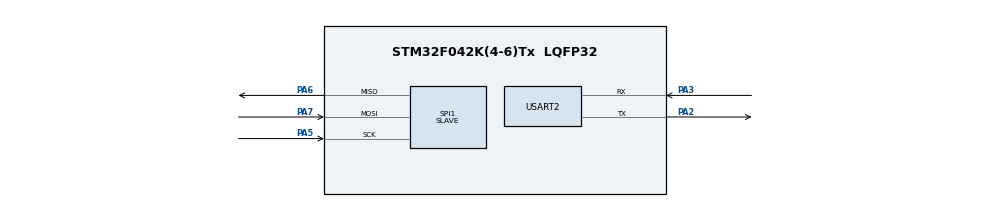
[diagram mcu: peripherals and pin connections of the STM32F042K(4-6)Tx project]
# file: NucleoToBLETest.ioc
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Mcu.Family=STM32F0
Mcu.Name=STM32F042K(4-6)Tx
Mcu.Package=LQFP32
PA2.Mode=Asynchronous
PA2.Signal=USART2_TX
PA3.Mode=Asynchronous
PA3.Signal=USART2_RX
PA5.Mode=Full_Duplex_Slave
PA5.Signal=SPI1_SCK
PA6.Mode=Full_Duplex_Slave
PA6.Signal=SPI1_MISO
PA7.Mode=Full_Duplex_Slave
PA7.Signal=SPI1_MOSI
ProjectManager.HeapSize=0x200
ProjectManager.StackSize=0x400
ProjectManager.TargetToolchain=STM32CubeIDE
SPI1.Direction=SPI_DIRECTION_2LINES
SPI1.Mode=SPI_MODE_SLAVE
SPI1.VirtualType=VM_SLAVE
USART2.VirtualMode-Asynchronous=VM_ASYNC
board=custom

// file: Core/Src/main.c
/* USER CODE BEGIN Header */
/**
  ******************************************************************************
  * @file           : main.c
  * @brief          : Main program body
  ******************************************************************************
  * @attention
  *
  * Copyright (c) 2022 STMicroelectronics.
  * All rights reserved.
  *
  * This software is licensed under terms that can be found in the LICENSE file
  * in the root directory of this software component.
  * If no LICENSE file comes with this software, it is provided AS-IS.
  *
  ******************************************************************************
  */
/* USER CODE END Header */
#include "main.h"

/* USER CODE BEGIN PD */
#define TIMEOUT 100			// SPI Timeout
/* USER CODE END PD */

SPI_HandleTypeDef hspi1;

UART_HandleTypeDef huart2;

void SystemClock_Config(void);
static void MX_GPIO_Init(void);
static void MX_SPI1_Init(void);
static void MX_USART2_UART_Init(void);
/* USER CODE BEGIN PFP */
void HAL_SPI_TxCpltCallback(SPI_HandleTypeDef);
/* USER CODE END PFP */

int main(void)
{

  /* MCU Configuration--------------------------------------------------------*/

  /* Reset of all peripherals, Initializes the Flash interface and the Systick. */
  HAL_Init();

  /* Configure the system clock */
  SystemClock_Config();

  /* Initialize all configured peripherals */
  MX_GPIO_Init();
  MX_SPI1_Init();
  MX_USART2_UART_Init();
  /* USER CODE BEGIN 2 */

  uint8_t Msg1[] = "TODO: Configure Codeless & Send data via BLE\r\n"; //Data to send
  HAL_UART_Transmit(&huart2,Test,sizeof(Test),10);// Sending in normal mode

  uint8_t data[] = "test";
  uint16_t Size = sizeof(data);

  // DA1451 must be master for SPI operation over codeless
  // Multiple slaves not supported
  // SPI clocks can be 2,4, or 8 MHz

  // branch lock test 2

  // Test blocking

  uint8_t blockingmsg[] = "Test SPI transmit via software\r\n";
  HAL_UART_Transmit(&huart2,blockingmsg,sizeof(blockingmsg),10);
  HAL_SPI_Transmit(&hspi1, data, Size, Timeout);

  // Test interrupt

  uint8_t interruptmsg[] = "Test SPI transmit via interrupt\r\n";
  HAL_UART_Transmit(&huart2,interruptmsg,sizeof(interruptmsg),10);
  HAL_SPI_Transmit(&hspi1, data, Size, Timeout);

  // Test DMA

  uint8_t dmamsg[] = "Test SPI transmit via DMA\r\n";
  HAL_UART_Transmit(&huart2,dmamsg,sizeof(dmamsg),10);
  HAL_SPI_Transmit(&hspi1, data, Size, Timeout);

  /* USER CODE END 2 */

  /* Infinite loop */
  while (1)
  {

  }
}

void SystemClock_Config(void)
{
  RCC_OscInitTypeDef RCC_OscInitStruct = {0};
  RCC_ClkInitTypeDef RCC_ClkInitStruct = {0};

  /** Initializes the RCC Oscillators according to the specified parameters
  * in the RCC_OscInitTypeDef structure.
  */
  RCC_OscInitStruct.OscillatorType = RCC_OSCILLATORTYPE_HSI;
  RCC_OscInitStruct.HSIState = RCC_HSI_ON;
  RCC_OscInitStruct.HSICalibrationValue = RCC_HSICALIBRATION_DEFAULT;
  RCC_OscInitStruct.PLL.PLLState = RCC_PLL_NONE;
  if (HAL_RCC_OscConfig(&RCC_OscInitStruct) != HAL_OK)
  {
    Error_Handler();
  }

  /** Initializes the CPU, AHB and APB buses clocks
  */
  RCC_ClkInitStruct.ClockType = RCC_CLOCKTYPE_HCLK|RCC_CLOCKTYPE_SYSCLK
                              |RCC_CLOCKTYPE_PCLK1;
  RCC_ClkInitStruct.SYSCLKSource = RCC_SYSCLKSOURCE_HSI;
  RCC_ClkInitStruct.AHBCLKDivider = RCC_SYSCLK_DIV1;
  RCC_ClkInitStruct.APB1CLKDivider = RCC_HCLK_DIV1;

  if (HAL_RCC_ClockConfig(&RCC_ClkInitStruct, FLASH_LATENCY_0) != HAL_OK)
  {
    Error_Handler();
  }
}

static void MX_SPI1_Init(void)
{

  /* SPI1 parameter configuration*/
  hspi1.Instance = SPI1;
  hspi1.Init.Mode = SPI_MODE_SLAVE;
  hspi1.Init.Direction = SPI_DIRECTION_2LINES;
  hspi1.Init.DataSize = SPI_DATASIZE_4BIT;
  hspi1.Init.CLKPolarity = SPI_POLARITY_LOW;
  hspi1.Init.CLKPhase = SPI_PHASE_1EDGE;
  hspi1.Init.NSS = SPI_NSS_SOFT;
  hspi1.Init.FirstBit = SPI_FIRSTBIT_MSB;
  hspi1.Init.TIMode = SPI_TIMODE_DISABLE;
  hspi1.Init.CRCCalculation = SPI_CRCCALCULATION_DISABLE;
  hspi1.Init.CRCPolynomial = 7;
  hspi1.Init.CRCLength = SPI_CRC_LENGTH_DATASIZE;
  hspi1.Init.NSSPMode = SPI_NSS_PULSE_DISABLE;
  if (HAL_SPI_Init(&hspi1) != HAL_OK)
  {
    Error_Handler();
  }

}

static void MX_USART2_UART_Init(void)
{

  huart2.Instance = USART2;
  huart2.Init.BaudRate = 38400;
  huart2.Init.WordLength = UART_WORDLENGTH_8B;
  huart2.Init.StopBits = UART_STOPBITS_1;
  huart2.Init.Parity = UART_PARITY_NONE;
  huart2.Init.Mode = UART_MODE_TX_RX;
  huart2.Init.HwFlowCtl = UART_HWCONTROL_NONE;
  huart2.Init.OverSampling = UART_OVERSAMPLING_16;
  huart2.Init.OneBitSampling = UART_ONE_BIT_SAMPLE_DISABLE;
  huart2.AdvancedInit.AdvFeatureInit = UART_ADVFEATURE_NO_INIT;
  if (HAL_UART_Init(&huart2) != HAL_OK)
  {
    Error_Handler();
  }

}

static void MX_GPIO_Init(void)
{

  /* GPIO Ports Clock Enable */
  __HAL_RCC_GPIOA_CLK_ENABLE();

}

/* USER CODE BEGIN 4 */
void HAL_SPI_TxCpltCallback(SPI_HandleTypeDef * hspi)
{
    // TX Done .. Do Something ...
}
/* USER CODE END 4 */

void Error_Handler(void)
{
  __disable_irq();
  while (1)
  {
  }
}
